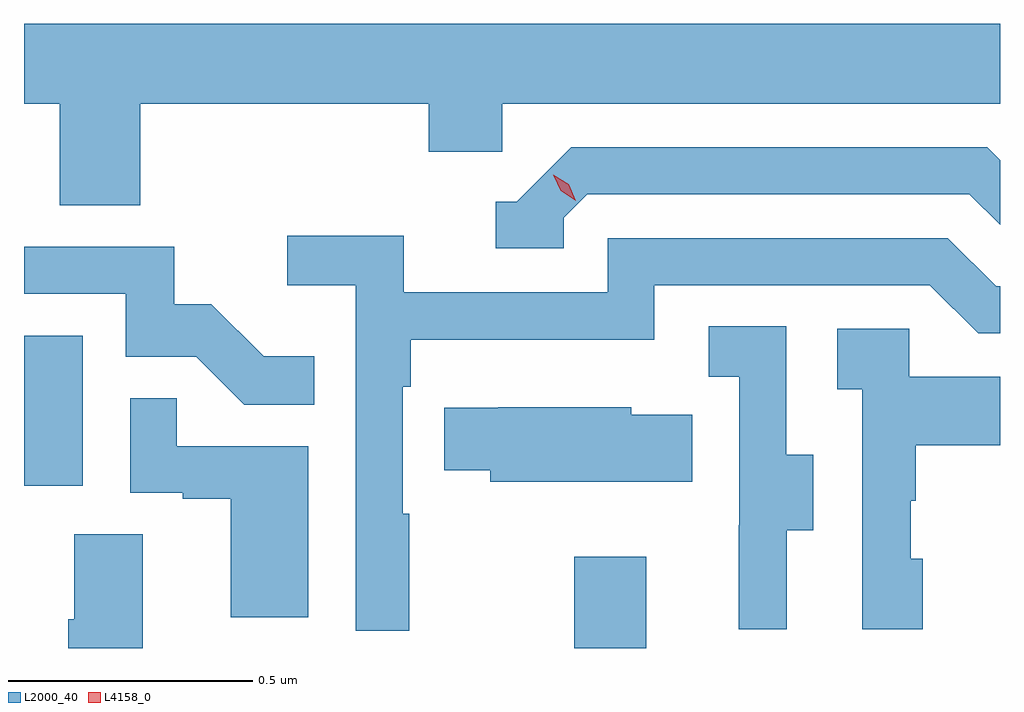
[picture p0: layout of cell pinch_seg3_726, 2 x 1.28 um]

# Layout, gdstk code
import gdstk
lib = gdstk.Library(unit=1e-6, precision=1e-09)
def R(c, l, rs):  # rectangles x0, y0, x1, y1
    for r in rs: c.add(gdstk.rectangle(r[:2], r[2:], *l))
def P(c, l, *ps):  # polygons
    for p in ps: c.add(gdstk.Polygon(p, *l))
L2000_40 = (2000, 40)
L4158_0 = (4158, 0)

pinch_seg3_726 = lib.new_cell('pinch_seg3_726')
R(pinch_seg3_726, L2000_40, [(1098.448,667.833,1098.595,668.02), (1097.32,668.166,1097.44,668.473)])
P(pinch_seg3_726, L2000_40, [(1097.558,668.948),(1098.149,668.948),(1098.149,668.85),(1098.3,668.85),(1098.3,668.948),(1099.32,668.948),(1099.32,669.112),(1097.32,669.112),(1097.32,668.948),(1097.393,668.948),(1097.393,668.74),(1097.558,668.74)],
  [(1098.426,668.715),(1098.474,668.763),(1099.257,668.763),(1099.32,668.7),(1099.32,668.833),(1099.294,668.859),(1098.441,668.859),(1098.33,668.748),(1098.287,668.748),(1098.287,668.652),(1098.426,668.652)],
  [(1098.109,668.108),(1098.096,668.108),(1098.096,668.369),(1098.113,668.369),(1098.113,668.465),(1098.612,668.465),(1098.612,668.577),(1099.176,668.577),(1099.275,668.478),(1099.32,668.478),(1099.32,668.574),(1099.312,668.574),(1099.213,668.673),(1098.516,668.673),(1098.516,668.562),(1098.098,668.562),(1098.098,668.678),(1097.859,668.678),(1097.859,668.576),(1098,668.576),(1098,667.869),(1098.109,667.869)],
  [(1097.915,668.431),(1097.811,668.431),(1097.704,668.538),(1097.628,668.538),(1097.628,668.655),(1097.32,668.655),(1097.32,668.559),(1097.529,668.559),(1097.529,668.43),(1097.673,668.43),(1097.771,668.332),(1097.915,668.332)],
  [(1098.883,668.074),(1098.937,668.074),(1098.937,668.229),(1098.882,668.229),(1098.882,668.492),(1098.723,668.492),(1098.723,668.389),(1098.786,668.389),(1098.786,668.085),(1098.785,668.085),(1098.785,667.872),(1098.883,667.872)],
  [(1099.162,668.016),(1099.137,668.016),(1099.137,668.135),(1099.147,668.135),(1099.147,668.249),(1099.32,668.249),(1099.32,668.389),(1099.134,668.389),(1099.134,668.487),(1098.987,668.487),(1098.987,668.363),(1099.038,668.363),(1099.038,667.872),(1099.162,667.872)],
  [(1097.902,668.247),(1097.633,668.247),(1097.633,668.345),(1097.538,668.345),(1097.538,668.151),(1097.645,668.151),(1097.645,668.139),(1097.744,668.139),(1097.744,667.896),(1097.902,667.896)],
  [(1098.689,668.311),(1098.564,668.311),(1098.564,668.326),(1098.292,668.326),(1098.292,668.325),(1098.181,668.325),(1098.181,668.197),(1098.275,668.197),(1098.275,668.174),(1098.689,668.174)],
  [(1097.563,668.066),(1097.423,668.066),(1097.423,667.892),(1097.411,667.892),(1097.411,667.833),(1097.563,667.833)])
P(pinch_seg3_726, L4158_0, [(1098.451,668.75),(1098.42,668.77),(1098.405,668.803),(1098.405,668.803),(1098.405,668.803),(1098.436,668.783),(1098.451,668.75),(1098.451,668.75)])

lib.write_gds('pinch_seg3_726.gds')
